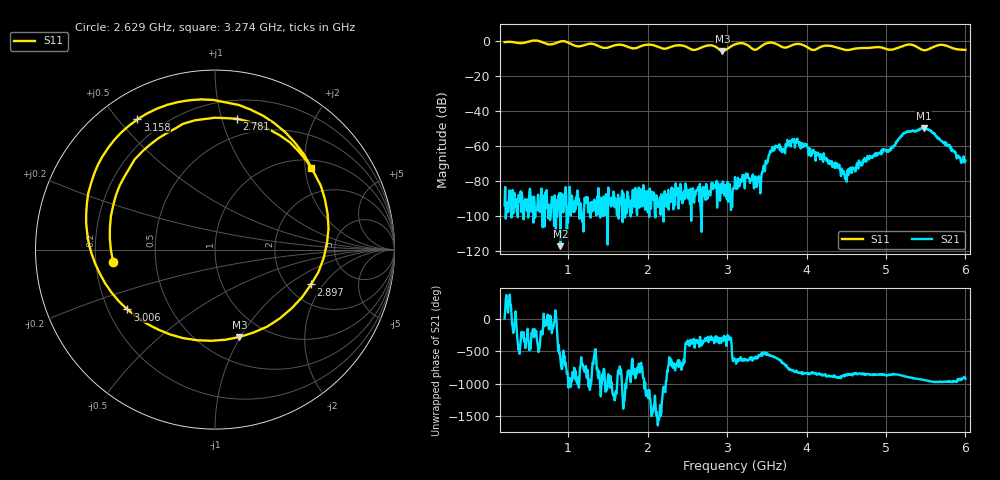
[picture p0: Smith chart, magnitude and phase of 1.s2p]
! NanoVNA-App by OneOfEleven et al v1.1.209 (+OD15)
! Date: 2024-07-30 15:24:00
! Start: 200MHz Stop: 6GHz Points: 801
! S-Parameter data: F S11 S21 S12 S22
# Hz S RI R 50
!  Frequency  S11_Real  S11_Imag  S21_Real  S21_Imag  S12_Real  S12_Imag  S22_Real  S22_Imag
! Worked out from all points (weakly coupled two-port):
!   801 points, 200 MHz to 6 GHz, reference 50 ohm
!   highest |S21| = -49.70 dB at 5.478 GHz (marker M1); lowest = -117.0 dB at 903.2 MHz (marker M2)
!   lowest |S11| = -5.9 dB at 2.941 GHz (marker M3), VSWR 3.04, Z = 37.9 - j49.5 ohm
!   |S11| at or under -10 dB: nowhere
!   S12 and S22 are empty: the file has one direction only
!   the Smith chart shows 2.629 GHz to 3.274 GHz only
!   S11 on the Smith chart (normalised r, x): 2.629 GHz: 0.27, -0.05; 2.781 GHz: 0.35, +1.12; 2.897 GHz: 2.66, -1.53; 3.006 GHz: 0.28, -0.29; 3.158 GHz: 0.11, +0.56; 3.274 GHz: 1.19, +2.16
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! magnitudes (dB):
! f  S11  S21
! 200 MHz  -0.8  -93.6
! 903.2 MHz  -0.4  -117.0
! 1.171 GHz  -3.0  -101.3
! 2.136 GHz  -3.6  -93.6
! 2.629 GHz  -4.9  -84.9
! 2.781 GHz  -2.6  -86.7
! 2.897 GHz  -4.9  -84.0
! 2.941 GHz  -5.9  -86.7
! 3.006 GHz  -4.6  -80.5
! 3.1 GHz  -2.1  -77.7
! 3.158 GHz  -1.5  -82.9
! 3.274 GHz  -3.0  -78.3
! 3.397 GHz  -4.3  -77.1
! 3.557 GHz  -1.1  -63.4
! 3.629 GHz  -2.1  -60.2
! 3.854 GHz  -2.0  -60.9
! 4.072 GHz  -5.2  -63.9
! 4.478 GHz  -5.2  -75.7
! 5.036 GHz  -5.1  -62.3
! 5.246 GHz  -2.6  -52.2
! 5.478 GHz  -5.4  -49.7
! 6 GHz  -5.3  -68.4
